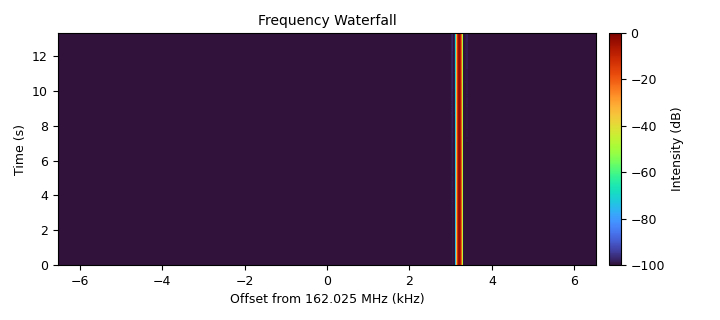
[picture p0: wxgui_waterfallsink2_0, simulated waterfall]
<?xml version='1.0' encoding='utf-8'?>
<flow_graph>
<block>
<key>options</key>
<param><key>id</key><value>Space_AIS_RX</value></param>
<param><key>title</key><value>Space AIS Receiver Simulation</value></param>
<param><key>author</key><value>Baris DINC</value></param>
<param><key>description</key><value>Simulation platform for testing doppler effects and collision on AIS signal reception with LEO satellites</value></param>
<param><key>generate_options</key><value>wx_gui</value></param>
<param><key>category</key><value>Custom</value></param>
</block>
<block>
<key>variable</key>
<param><key>id</key><value>doppler_control_freq1</value></param>
<param><key>value</key><value>0.01</value></param>
</block>
<block>
<key>variable</key>
<param><key>id</key><value>doppler_sensitivity</value></param>
<param><key>value</key><value>500000</value></param>
</block>
<block>
<key>variable</key>
<param><key>id</key><value>samp_rate</value></param>
<param><key>value</key><value>326531</value></param>
</block>
<block>
<key>blocks_throttle</key>
<param><key>id</key><value>blocks_throttle_0</value></param>
<param><key>type</key><value>complex</value></param>
<param><key>samples_per_second</key><value>samp_rate</value></param>
</block>
<block>
<key>analog_sig_source_x</key>
<param><key>id</key><value>analog_sig_source_x_1_1</value></param>
<param><key>type</key><value>int</value></param>
<param><key>samp_rate</key><value>samp_rate</value></param>
<param><key>waveform</key><value>analog.GR_SQR_WAVE</value></param>
<param><key>freq</key><value>doppler_control_freq1</value></param>
<param><key>amp</key><value>1</value></param>
<param><key>offset</key><value>0</value></param>
</block>
<block>
<key>blocks_probe_signal_x</key>
<param><key>id</key><value>control_signal1</value></param>
<param><key>type</key><value>int</value></param>
</block>
<block>
<key>blocks_null_source</key>
<param><key>id</key><value>blocks_null_source_1</value></param>
<param><key>type</key><value>complex</value></param>
</block>
<block>
<key>blks2_selector</key>
<param><key>id</key><value>blks2_selector_0_1</value></param>
<param><key>type</key><value>complex</value></param>
<param><key>num_inputs</key><value>2</value></param>
<param><key>num_outputs</key><value>1</value></param>
<param><key>input_index</key><value>1 if(control_out1&gt;0) else 0</value></param>
<param><key>output_index</key><value>0</value></param>
<param><key>vlen</key><value>1</value></param>
</block>
<block>
<key>variable_function_probe</key>
<param><key>id</key><value>control_out1</value></param>
<param><key>value</key><value>0</value></param>
<param><key>block_id</key><value>control_signal1</value></param>
<param><key>function_name</key><value>level</value></param>
<param><key>poll_rate</key><value>samp_rate</value></param>
</block>
<block>
<key>blocks_throttle</key>
<param><key>id</key><value>blocks_throttle_0_1</value></param>
<param><key>type</key><value>int</value></param>
<param><key>samples_per_second</key><value>samp_rate</value></param>
</block>
<block>
<key>blocks_vco_c</key>
<param><key>id</key><value>blocks_vco_c_0</value></param>
<param><key>samp_rate</key><value>samp_rate</value></param>
<param><key>sensitivity</key><value>doppler_sensitivity</value></param>
<param><key>amplitude</key><value>1</value></param>
</block>
<block>
<key>analog_sig_source_x</key>
<param><key>id</key><value>analog_sig_source_x_1</value></param>
<param><key>type</key><value>float</value></param>
<param><key>samp_rate</key><value>samp_rate</value></param>
<param><key>waveform</key><value>analog.GR_COS_WAVE</value></param>
<param><key>freq</key><value>doppler_control_freq1</value></param>
<param><key>amp</key><value>1</value></param>
<param><key>offset</key><value>0</value></param>
</block>
<block>
<key>blocks_throttle</key>
<param><key>id</key><value>blocks_throttle_0_1_0</value></param>
<param><key>type</key><value>float</value></param>
<param><key>samples_per_second</key><value>samp_rate</value></param>
</block>
<block>
<key>wxgui_waterfallsink2</key>
<param><key>id</key><value>wxgui_waterfallsink2_0</value></param>
<param><key>type</key><value>complex</value></param>
<param><key>title</key><value>Frequency Waterfall</value></param>
<param><key>samp_rate</key><value>samp_rate/25</value></param>
<param><key>baseband_freq</key><value>162025000</value></param>
<param><key>dynamic_range</key><value>100</value></param>
<param><key>ref_level</key><value>0</value></param>
<param><key>ref_scale</key><value>2.0</value></param>
<param><key>fft_size</key><value>512</value></param>
<param><key>fft_rate</key><value>15</value></param>
<param><key>average</key><value>False</value></param>
<param><key>avg_alpha</key><value>0</value></param>
<param><key>win</key><value>None</value></param>
<param><key>win_size</key><value>800,600</value></param>
<param><key>freqvar</key><value>None</value></param>
</block>
<connection><source_block_id>blocks_throttle_0</source_block_id><sink_block_id>wxgui_waterfallsink2_0</sink_block_id><source_key>0</source_key><sink_key>0</sink_key></connection>
<connection><source_block_id>blocks_vco_c_0</source_block_id><sink_block_id>blks2_selector_0_1</sink_block_id><source_key>0</source_key><sink_key>0</sink_key></connection>
<connection><source_block_id>blks2_selector_0_1</source_block_id><sink_block_id>blocks_throttle_0</sink_block_id><source_key>0</source_key><sink_key>0</sink_key></connection>
<connection><source_block_id>blocks_null_source_1</source_block_id><sink_block_id>blks2_selector_0_1</sink_block_id><source_key>0</source_key><sink_key>1</sink_key></connection>
<connection><source_block_id>blocks_throttle_0_1</source_block_id><sink_block_id>control_signal1</sink_block_id><source_key>0</source_key><sink_key>0</sink_key></connection>
<connection><source_block_id>analog_sig_source_x_1_1</source_block_id><sink_block_id>blocks_throttle_0_1</sink_block_id><source_key>0</source_key><sink_key>0</sink_key></connection>
<connection><source_block_id>analog_sig_source_x_1</source_block_id><sink_block_id>blocks_throttle_0_1_0</sink_block_id><source_key>0</source_key><sink_key>0</sink_key></connection>
<connection><source_block_id>blocks_throttle_0_1_0</source_block_id><sink_block_id>blocks_vco_c_0</sink_block_id><source_key>0</source_key><sink_key>0</sink_key></connection>
</flow_graph>
